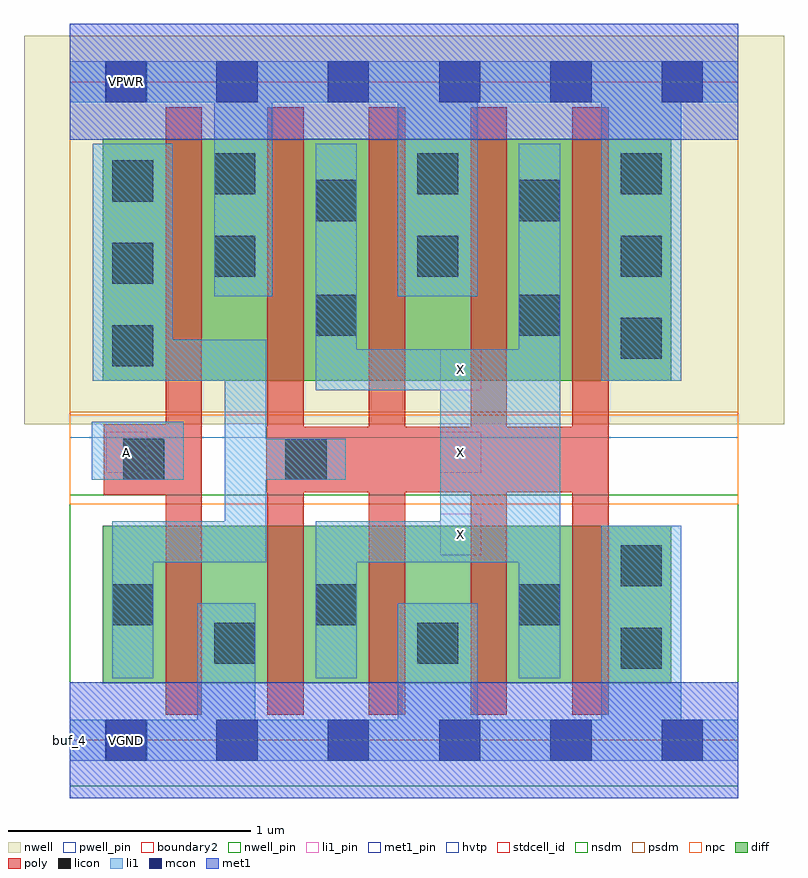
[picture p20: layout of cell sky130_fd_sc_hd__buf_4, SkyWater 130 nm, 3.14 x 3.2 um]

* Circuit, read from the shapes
.subckt sky130_fd_sc_hd__buf_4 A VGND VNB VPB VPWR X
XM1 VGND A n1 VNB sky130_fd_pr__nfet_01v8 w=0.65 l=0.15
XM2 X n1 VGND VNB sky130_fd_pr__nfet_01v8 w=0.65 l=0.15 m=4
XM3 VPWR A n1 VPB sky130_fd_pr__pfet_01v8_hvt w=1 l=0.15
XM4 X n1 VPWR VPB sky130_fd_pr__pfet_01v8_hvt w=1 l=0.15 m=4
.ends

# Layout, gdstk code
import gdstk
lib = gdstk.Library(unit=1e-6, precision=1e-09)
def R(c, l, rs):  # rectangles x0, y0, x1, y1
    for r in rs: c.add(gdstk.rectangle(r[:2], r[2:], *l))
def A(c, l, x, y, w, h, nx, ny, dx, dy):  # array of equal rectangles
    R(c, l, [(x+i*dx, y+j*dy, x+i*dx+w, y+j*dy+h) for i in range(nx) for j in range(ny)])
def P(c, l, *ps):  # polygons
    for p in ps: c.add(gdstk.Polygon(p, *l))
nwell_pin = (64, 16)
nwell = (64, 20)
diff = (65, 20)
poly = (66, 20)
licon = (66, 44)
li1_pin = (67, 16)
li1 = (67, 20)
mcon = (67, 44)
met1_pin = (68, 16)
met1 = (68, 20)
hvtp = (78, 44)
stdcell_id = (81, 4)
nsdm = (93, 44)
psdm = (94, 20)
npc = (95, 20)
pwell_pin = (122, 16)
boundary2 = (236, 0)

sky130_fd_sc_hd__buf_4 = lib.new_cell('sky130_fd_sc_hd__buf_4')
R(sky130_fd_sc_hd__buf_4, nwell_pin, [(0.15,2.635,0.32,2.805)])
R(sky130_fd_sc_hd__buf_4, nwell, [(-0.19,1.305,2.95,2.91)])
R(sky130_fd_sc_hd__buf_4, diff, [(0.135,0.235,2.485,0.885), (0.135,1.485,2.485,2.485)])
P(sky130_fd_sc_hd__buf_4, poly, [(2.225,2.615),(2.075,2.615),(2.075,1.295),(1.805,1.295),(1.805,2.615),(1.655,2.615),(1.655,1.295),(1.385,1.295),(1.385,2.615),(1.235,2.615),(1.235,1.295),(0.965,1.295),(0.965,2.615),(0.815,2.615),(0.815,1.295),(0.81,1.295),(0.81,1.025),(0.815,1.025),(0.815,0.105),(0.965,0.105),(0.965,1.025),(1.235,1.025),(1.235,0.105),(1.385,0.105),(1.385,1.025),(1.655,1.025),(1.655,0.105),(1.805,0.105),(1.805,1.025),(2.075,1.025),(2.075,0.105),(2.225,0.105)],
  [(0.545,2.615),(0.395,2.615),(0.395,1.305),(0.14,1.305),(0.14,1.015),(0.395,1.015),(0.395,0.105),(0.545,0.105)])
A(sky130_fd_sc_hd__buf_4, licon, 0.175, 0.475, 0.17, 0.17, 3, 1, 0.84, 0)
A(sky130_fd_sc_hd__buf_4, licon, 0.175, 1.545, 0.17, 0.17, 1, 3, 0, 0.34)
A(sky130_fd_sc_hd__buf_4, licon, 0.595, 1.915, 0.17, 0.17, 3, 2, 0.84, 0.34)
R(sky130_fd_sc_hd__buf_4, licon, [(2.275,0.295,2.445,0.465), (0.595,0.315,0.765,0.485), (1.435,0.315,1.605,0.485), (2.275,0.635,2.445,0.805), (0.22,1.075,0.39,1.245), (0.89,1.075,1.06,1.245), (2.275,1.575,2.445,1.745), (1.015,1.67,1.185,1.84), (1.855,1.67,2.025,1.84), (1.015,2.145,1.185,2.315), (1.855,2.145,2.025,2.315)])
A(sky130_fd_sc_hd__buf_4, li1_pin, 1.53, 0.765, 0.17, 0.17, 1, 3, 0, 0.34)
R(sky130_fd_sc_hd__buf_4, li1_pin, [(0.15,-0.085,0.32,0.085), (0.15,1.105,0.32,1.275), (0.15,2.635,0.32,2.805)])
R(sky130_fd_sc_hd__buf_4, li1, [(0.09,1.075,0.47,1.315)])
P(sky130_fd_sc_hd__buf_4, li1, [(1.14,1.245),(0.81,1.245),(0.81,1.655),(0.425,1.655),(0.425,2.465),(0.095,2.465),(0.095,1.485),(0.64,1.485),(0.64,0.905),(0.175,0.905),(0.175,0.255),(0.345,0.255),(0.345,0.735),(0.81,0.735),(0.81,1.075),(1.14,1.075)],
  [(2.025,2.465),(1.855,2.465),(1.855,1.615),(1.185,1.615),(1.185,2.465),(1.015,2.465),(1.015,1.445),(1.53,1.445),(1.53,0.905),(1.015,0.905),(1.015,0.255),(1.185,0.255),(1.185,0.735),(1.855,0.735),(1.855,0.255),(2.025,0.255)],
  [(2.76,2.805),(0,2.805),(0,2.635),(0.595,2.635),(0.595,1.835),(0.835,1.835),(0.835,2.635),(1.355,2.635),(1.355,1.835),(1.685,1.835),(1.685,2.635),(2.195,2.635),(2.195,1.485),(2.525,1.485),(2.525,2.635),(2.76,2.635)],
  [(2.76,0.085),(2.525,0.085),(2.525,0.885),(2.195,0.885),(2.195,0.085),(1.685,0.085),(1.685,0.565),(1.355,0.565),(1.355,0.085),(0.765,0.085),(0.765,0.565),(0.525,0.565),(0.525,0.085),(0,0.085),(0,-0.085),(2.76,-0.085)])
A(sky130_fd_sc_hd__buf_4, mcon, 0.145, -0.085, 0.17, 0.17, 6, 2, 0.46, 2.72)
R(sky130_fd_sc_hd__buf_4, met1_pin, [(0.15,-0.085,0.32,0.085), (0.15,2.635,0.32,2.805)])
R(sky130_fd_sc_hd__buf_4, hvtp, [(0,1.25,2.76,2.72)])
R(sky130_fd_sc_hd__buf_4, stdcell_id, [(0,0,2.76,2.72)])
R(sky130_fd_sc_hd__buf_4, nsdm, [(0,-0.19,2.76,1.015)])
R(sky130_fd_sc_hd__buf_4, psdm, [(0,1.355,2.76,2.91)])
R(sky130_fd_sc_hd__buf_4, npc, [(0,0.975,2.76,1.345)])
R(sky130_fd_sc_hd__buf_4, pwell_pin, [(0.15,-0.085,0.32,0.085)])
R(sky130_fd_sc_hd__buf_4, boundary2, [(0,0,2.76,2.72)])
sky130_fd_sc_hd__buf_4.add(gdstk.FlexPath([(0,0),(2.76,0)], 0.48, ends="flush", simple_path=True, layer=68, datatype=20))  # met1
sky130_fd_sc_hd__buf_4.add(gdstk.FlexPath([(0,2.72),(2.76,2.72)], 0.48, ends="flush", simple_path=True, layer=68, datatype=20))  # met1
sky130_fd_sc_hd__buf_4.add(gdstk.Label('VPWR', (0.235,2.72), layer=68, texttype=5))
sky130_fd_sc_hd__buf_4.add(gdstk.Label('VGND', (0.235,0), layer=68, texttype=5))
sky130_fd_sc_hd__buf_4.add(gdstk.Label('X', (1.615,1.19), layer=67, texttype=5))
sky130_fd_sc_hd__buf_4.add(gdstk.Label('X', (1.615,1.53), layer=67, texttype=5))
sky130_fd_sc_hd__buf_4.add(gdstk.Label('X', (1.615,0.85), layer=67, texttype=5))
sky130_fd_sc_hd__buf_4.add(gdstk.Label('VPWR', (0.235,2.72), layer=67, texttype=5))
sky130_fd_sc_hd__buf_4.add(gdstk.Label('VGND', (0.235,0), layer=67, texttype=5))
sky130_fd_sc_hd__buf_4.add(gdstk.Label('A', (0.235,1.19), layer=67, texttype=5))
sky130_fd_sc_hd__buf_4.add(gdstk.Label('VPB', (0.235,2.72), layer=64, texttype=5))
sky130_fd_sc_hd__buf_4.add(gdstk.Label('VNB', (0.235,0), layer=64, texttype=59))
sky130_fd_sc_hd__buf_4.add(gdstk.Label('buf_4', (0,0), layer=83, texttype=44))

lib.write_gds('sky130_fd_sc_hd__buf_4.gds')
